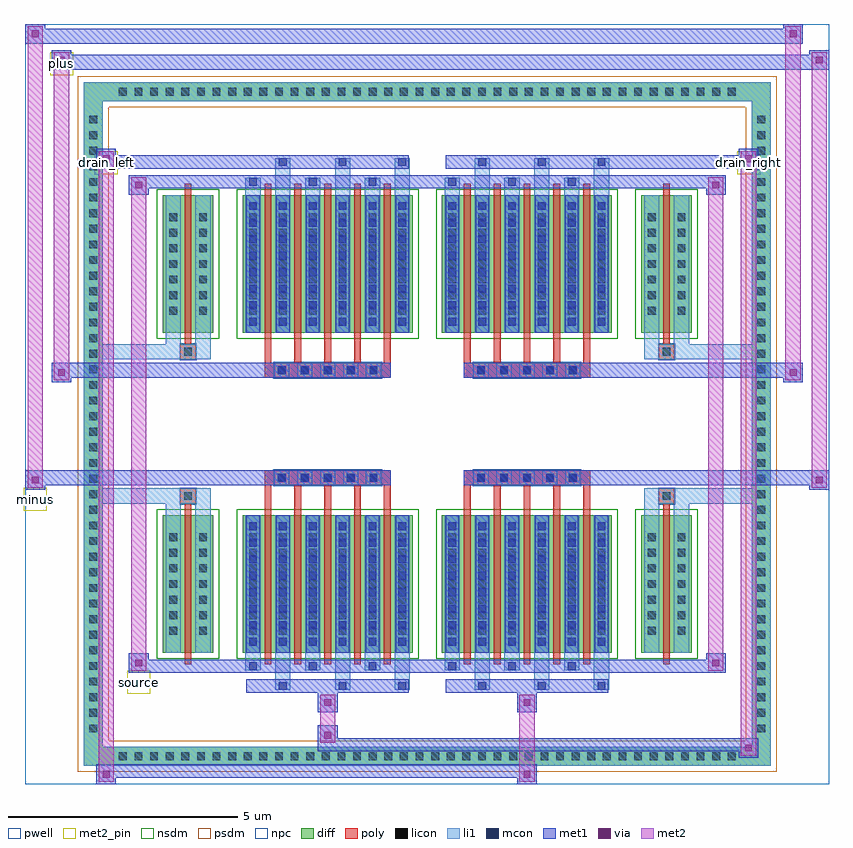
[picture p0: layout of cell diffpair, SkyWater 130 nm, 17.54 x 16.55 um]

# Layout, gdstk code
import gdstk
lib = gdstk.Library(unit=1e-6, precision=5e-09)
def R(c, l, rs):  # rectangles x0, y0, x1, y1
    for r in rs: c.add(gdstk.rectangle(r[:2], r[2:], *l))
def A(c, l, x, y, w, h, nx, ny, dx, dy):  # array of equal rectangles
    R(c, l, [(x+i*dx, y+j*dy, x+i*dx+w, y+j*dy+h) for i in range(nx) for j in range(ny)])
def P(c, l, *ps):  # polygons
    for p in ps: c.add(gdstk.Polygon(p, *l))
pwell = (64, 44)
diff = (65, 20)
poly = (66, 20)
licon = (66, 44)
li1 = (67, 20)
mcon = (67, 44)
met1 = (68, 20)
via = (68, 44)
met2_pin = (69, 16)
met2 = (69, 20)
nsdm = (93, 44)
psdm = (94, 20)
npc = (95, 20)

diffpair = lib.new_cell('diffpair')
R(diffpair, pwell, [(-8.75,-7.84,8.75,8.71), (-6.07,-6.03,-0.01,-0.805), (0.01,-6.03,6.07,-0.805), (-6.07,0.805,-0.01,6.03), (0.01,0.805,6.07,6.03)])
A(diffpair, diff, -6.835, -7.44, 0.41, 0.41, 40, 2, 0.34, 14.47)
A(diffpair, diff, -7.48, -6.835, 0.41, 0.41, 1, 40, 0, 0.34)
A(diffpair, diff, 7.07, -6.835, 0.41, 0.41, 1, 40, 0, 0.34)
R(diffpair, diff, [(-6.835,-7.44,6.835,-7.03), (-7.48,-6.835,-7.07,6.835), (7.07,-6.835,7.48,6.835), (-5.76,-4.985,-4.66,-1.985), (-4.02,-4.985,-0.32,-1.985), (0.32,-4.985,4.02,-1.985), (4.66,-4.985,5.76,-1.985), (-5.76,1.985,-4.66,4.985), (-4.02,1.985,-0.32,4.985), (0.32,1.985,4.02,4.985), (4.66,1.985,5.76,4.985), (-6.835,7.03,6.835,7.44)])
P(diffpair, diff, [(7.48,7.44),(-7.48,7.44),(-7.48,-7.03),(-7.07,-7.03),(-7.07,7.03),(7.07,7.03),(7.07,-7.03),(-7.07,-7.03),(-7.48,-7.03),(-7.48,-7.44),(7.48,-7.44)])
A(diffpair, poly, -3.545, -5.235, 0.15, 3.5, 5, 2, 0.65, 6.97)
A(diffpair, poly, 0.795, -5.235, 0.15, 3.5, 5, 2, 0.65, 6.97)
A(diffpair, poly, -3.545, -1.735, 0.15, 0.4, 5, 2, 0.65, 3.07)
A(diffpair, poly, 0.795, -1.735, 0.15, 0.4, 5, 2, 0.65, 3.07)
A(diffpair, poly, -3.335, -1.335, 0.33, 0.33, 5, 2, 0.5, 2.34)
A(diffpair, poly, 1.005, -1.335, 0.33, 0.33, 5, 2, 0.5, 2.34)
R(diffpair, poly, [(-5.285,-5.235,-5.135,-1.735), (5.135,-5.235,5.285,-1.735), (-5.375,-1.735,-5.045,-1.405), (-5.375,-1.735,-5.045,-1.405), (5.045,-1.735,5.375,-1.405), (5.045,-1.735,5.375,-1.405), (-3.545,-1.335,-0.795,-1.005), (0.795,-1.335,3.545,-1.005), (-3.545,1.005,-0.795,1.335), (0.795,1.005,3.545,1.335), (-5.375,1.405,-5.045,1.735), (-5.375,1.405,-5.045,1.735), (5.045,1.405,5.375,1.735), (5.045,1.405,5.375,1.735), (-5.285,1.735,-5.135,5.235), (5.135,1.735,5.285,5.235)])
A(diffpair, licon, -6.715, -7.32, 0.17, 0.17, 40, 2, 0.34, 14.47)
A(diffpair, licon, -7.36, -6.715, 0.17, 0.17, 1, 40, 0, 0.34)
A(diffpair, licon, 7.19, -6.715, 0.17, 0.17, 1, 40, 0, 0.34)
A(diffpair, licon, -5.62, -4.59, 0.17, 0.17, 1, 7, 0, 0.34)
A(diffpair, licon, -4.97, -4.59, 0.17, 0.17, 1, 7, 0, 0.34)
A(diffpair, licon, -3.88, -4.59, 0.17, 0.17, 6, 7, 0.65, 0.34)
A(diffpair, licon, 0.46, -4.59, 0.17, 0.17, 6, 7, 0.65, 0.34)
A(diffpair, licon, 4.8, -4.59, 0.17, 0.17, 1, 7, 0, 0.34)
A(diffpair, licon, 5.45, -4.59, 0.17, 0.17, 1, 7, 0, 0.34)
A(diffpair, licon, -3.255, -1.255, 0.17, 0.17, 5, 2, 0.5, 2.34)
A(diffpair, licon, 1.085, -1.255, 0.17, 0.17, 5, 2, 0.5, 2.34)
A(diffpair, licon, -5.62, 2.38, 0.17, 0.17, 1, 7, 0, 0.34)
A(diffpair, licon, -4.97, 2.38, 0.17, 0.17, 1, 7, 0, 0.34)
A(diffpair, licon, -3.88, 2.38, 0.17, 0.17, 6, 7, 0.65, 0.34)
A(diffpair, licon, 0.46, 2.38, 0.17, 0.17, 6, 7, 0.65, 0.34)
A(diffpair, licon, 4.8, 2.38, 0.17, 0.17, 1, 7, 0, 0.34)
A(diffpair, licon, 5.45, 2.38, 0.17, 0.17, 1, 7, 0, 0.34)
R(diffpair, licon, [(-5.295,-1.655,-5.125,-1.485), (5.125,-1.655,5.295,-1.485), (-5.295,1.485,-5.125,1.655), (5.125,1.485,5.295,1.655)])
A(diffpair, li1, -6.795, -7.4, 0.33, 0.33, 40, 2, 0.34, 14.47)
A(diffpair, li1, -7.44, -6.795, 0.33, 0.33, 1, 40, 0, 0.34)
A(diffpair, li1, 7.11, -6.795, 0.33, 0.33, 1, 40, 0, 0.34)
A(diffpair, li1, -3.31, -5.79, 0.33, 0.805, 3, 2, 1.3, 10.775)
A(diffpair, li1, -3.23, -5.79, 0.17, 0.17, 3, 2, 1.3, 11.41)
A(diffpair, li1, 1.03, -5.79, 0.33, 0.805, 3, 2, 1.3, 10.775)
A(diffpair, li1, 1.11, -5.79, 0.17, 0.17, 3, 2, 1.3, 11.41)
A(diffpair, li1, -3.96, -5.36, 0.33, 0.375, 3, 2, 1.3, 10.345)
A(diffpair, li1, -3.88, -5.36, 0.17, 0.17, 3, 2, 1.3, 10.55)
A(diffpair, li1, 0.38, -5.36, 0.33, 0.375, 3, 2, 1.3, 10.345)
A(diffpair, li1, 0.46, -5.36, 0.17, 0.17, 3, 2, 1.3, 10.55)
A(diffpair, li1, -3.96, -4.985, 0.33, 3, 6, 2, 0.65, 6.97)
A(diffpair, li1, 0.38, -4.985, 0.33, 3, 6, 2, 0.65, 6.97)
A(diffpair, li1, -3.88, -4.83, 0.17, 0.17, 6, 8, 0.65, 0.36)
A(diffpair, li1, -3.88, -4.83, 0.17, 2.69, 6, 2, 0.65, 6.97)
A(diffpair, li1, 0.46, -4.83, 0.17, 0.17, 6, 8, 0.65, 0.36)
A(diffpair, li1, 0.46, -4.83, 0.17, 2.69, 6, 2, 0.65, 6.97)
A(diffpair, li1, -5.7, -4.67, 0.33, 0.33, 1, 7, 0, 0.34)
A(diffpair, li1, -5.05, -4.67, 0.33, 0.33, 1, 7, 0, 0.34)
A(diffpair, li1, -3.96, -4.67, 0.33, 0.33, 6, 7, 0.65, 0.34)
A(diffpair, li1, 0.38, -4.67, 0.33, 0.33, 6, 7, 0.65, 0.34)
A(diffpair, li1, 4.72, -4.67, 0.33, 0.33, 1, 7, 0, 0.34)
A(diffpair, li1, 5.37, -4.67, 0.33, 0.33, 1, 7, 0, 0.34)
A(diffpair, li1, -3.335, -1.335, 0.33, 0.33, 5, 2, 0.5, 2.34)
A(diffpair, li1, 1.005, -1.335, 0.33, 0.33, 5, 2, 0.5, 2.34)
A(diffpair, li1, -3.88, 2.14, 0.17, 0.17, 6, 8, 0.65, 0.36)
A(diffpair, li1, 0.46, 2.14, 0.17, 0.17, 6, 8, 0.65, 0.36)
A(diffpair, li1, -5.7, 2.3, 0.33, 0.33, 1, 7, 0, 0.34)
A(diffpair, li1, -5.05, 2.3, 0.33, 0.33, 1, 7, 0, 0.34)
A(diffpair, li1, -3.96, 2.3, 0.33, 0.33, 6, 7, 0.65, 0.34)
A(diffpair, li1, 0.38, 2.3, 0.33, 0.33, 6, 7, 0.65, 0.34)
A(diffpair, li1, 4.72, 2.3, 0.33, 0.33, 1, 7, 0, 0.34)
A(diffpair, li1, 5.37, 2.3, 0.33, 0.33, 1, 7, 0, 0.34)
R(diffpair, li1, [(-7.48,-7.44,-7.07,-7.03), (-7.48,-7.44,-7.07,-7.03), (-7.07,-7.44,7.07,-7.03), (7.07,-7.44,7.48,-7.03), (7.07,-7.44,7.48,-7.03), (-7.48,-7.03,-7.07,7.03), (7.07,-7.03,7.48,7.03), (-5.7,-4.985,-5.37,-1.985), (-5.05,-4.985,-4.72,-1.985), (4.72,-4.985,5.05,-1.985), (5.37,-4.985,5.7,-1.985), (-5.7,-1.985,-5.37,-1.405), (-5.05,-1.985,-4.72,-1.405), (4.72,-1.985,5.05,-1.405), (5.37,-1.985,5.7,-1.405), (-7.48,-1.735,-5.375,-1.405), (-5.7,-1.735,-5.375,-1.405), (-5.375,-1.735,-5.045,-1.405), (-5.045,-1.735,-4.72,-1.405), (4.72,-1.735,5.045,-1.405), (5.045,-1.735,5.375,-1.405), (5.045,-1.735,7.48,-1.405), (5.375,-1.735,5.7,-1.405), (-7.48,1.405,-5.375,1.735), (-5.7,1.405,-5.375,1.735), (-5.7,1.405,-5.37,1.985), (-5.375,1.405,-5.045,1.735), (-5.05,1.405,-4.72,1.985), (-5.045,1.405,-4.72,1.735), (4.72,1.405,5.045,1.735), (4.72,1.405,5.05,1.985), (5.045,1.405,5.375,1.735), (5.045,1.405,7.48,1.735), (5.37,1.405,5.7,1.985), (5.375,1.405,5.7,1.735), (-5.7,1.985,-5.37,4.985), (-5.05,1.985,-4.72,4.985), (4.72,1.985,5.05,4.985), (5.37,1.985,5.7,4.985), (-7.48,7.03,-7.07,7.44), (-7.48,7.03,-7.07,7.44), (-7.07,7.03,7.07,7.44), (7.07,7.03,7.48,7.44), (7.07,7.03,7.48,7.44)])
A(diffpair, mcon, -3.23, -5.79, 0.17, 0.17, 3, 2, 1.3, 11.41)
A(diffpair, mcon, 1.11, -5.79, 0.17, 0.17, 3, 2, 1.3, 11.41)
A(diffpair, mcon, -3.88, -5.36, 0.17, 0.17, 3, 2, 1.3, 10.55)
A(diffpair, mcon, 0.46, -5.36, 0.17, 0.17, 3, 2, 1.3, 10.55)
A(diffpair, mcon, -3.88, -4.83, 0.17, 0.17, 6, 8, 0.65, 0.36)
A(diffpair, mcon, 0.46, -4.83, 0.17, 0.17, 6, 8, 0.65, 0.36)
A(diffpair, mcon, -3.255, -1.255, 0.17, 0.17, 5, 2, 0.5, 2.34)
A(diffpair, mcon, 1.085, -1.255, 0.17, 0.17, 5, 2, 0.5, 2.34)
A(diffpair, mcon, -3.88, 2.14, 0.17, 0.17, 6, 8, 0.65, 0.36)
A(diffpair, mcon, 0.46, 2.14, 0.17, 0.17, 6, 8, 0.65, 0.36)
A(diffpair, met1, -3.29, -5.85, 0.29, 0.29, 3, 2, 1.3, 11.41)
A(diffpair, met1, 1.05, -5.85, 0.29, 0.29, 3, 2, 1.3, 11.41)
A(diffpair, met1, -3.94, -5.42, 0.29, 0.29, 3, 2, 1.3, 10.55)
A(diffpair, met1, 0.4, -5.42, 0.29, 0.29, 3, 2, 1.3, 10.55)
A(diffpair, met1, -3.94, -4.985, 0.29, 3, 6, 2, 0.65, 6.97)
A(diffpair, met1, 0.4, -4.985, 0.29, 3, 6, 2, 0.65, 6.97)
A(diffpair, met1, -3.94, -4.89, 0.29, 0.29, 6, 8, 0.65, 0.36)
A(diffpair, met1, 0.4, -4.89, 0.29, 0.29, 6, 8, 0.65, 0.36)
A(diffpair, met1, -3.315, -1.315, 0.29, 0.29, 5, 2, 0.5, 2.34)
A(diffpair, met1, 1.025, -1.315, 0.29, 0.29, 5, 2, 0.5, 2.34)
A(diffpair, met1, -3.94, 2.08, 0.29, 0.29, 6, 8, 0.65, 0.36)
A(diffpair, met1, 0.4, 2.08, 0.29, 0.29, 6, 8, 0.65, 0.36)
R(diffpair, met1, [(-7.21,-7.84,-6.78,-7.41), (1.955,-7.84,2.385,-7.41), (-7.21,-7.7,2.385,-7.41), (6.78,-7.27,7.21,-6.84), (-2.385,-7.13,7.21,-6.84), (-2.385,-6.99,-1.955,-6.56), (-2.385,-6.28,-1.955,-5.85), (1.955,-6.28,2.385,-5.85), (-3.94,-5.85,-0.4,-5.56), (0.4,-5.85,3.94,-5.56), (-6.5,-5.42,-6.07,-4.99), (-6.5,-5.42,-3.94,-5.13), (-3.94,-5.42,-0.4,-5.13), (-0.4,-5.42,0.4,-5.13), (0.4,-5.42,3.94,-5.13), (3.94,-5.42,6.5,-5.13), (6.07,-5.42,6.5,-4.99), (-8.75,-1.435,-8.32,-1.005), (8.32,-1.435,8.75,-1.005), (-8.75,-1.335,-0.795,-1.005), (-3.545,-1.335,-0.795,-1.005), (0.795,-1.335,3.545,-1.005), (0.795,-1.335,8.75,-1.005), (-8.18,0.905,-7.75,1.335), (7.75,0.905,8.18,1.335), (-8.18,1.005,-3.545,1.335), (-3.545,1.005,-0.795,1.335), (0.795,1.005,3.545,1.335), (3.545,1.005,8.18,1.335), (-6.5,4.99,-6.07,5.42), (6.07,4.99,6.5,5.42), (-6.5,5.13,-3.94,5.42), (-3.94,5.13,-0.4,5.42), (-0.4,5.13,0.4,5.42), (0.4,5.13,3.94,5.42), (3.94,5.13,6.5,5.42), (-7.21,5.56,-6.78,5.99), (-7.21,5.56,-3.94,5.85), (-3.94,5.56,-0.4,5.85), (0.4,5.56,3.94,5.85), (3.94,5.56,7.21,5.85), (6.78,5.56,7.21,5.99), (-8.18,7.71,-7.75,8.14), (-8.18,7.71,-6.07,8.04), (-6.07,7.71,6.07,8.04), (6.07,7.71,8.75,8.04), (8.32,7.71,8.75,8.14), (-8.75,8.28,-8.32,8.71), (-8.75,8.28,-6.07,8.61), (-6.07,8.28,6.07,8.61), (6.07,8.28,8.18,8.61), (7.75,8.28,8.18,8.71)])
R(diffpair, via, [(-7.07,-7.7,-6.92,-7.55), (2.095,-7.7,2.245,-7.55), (6.92,-7.13,7.07,-6.98), (-2.245,-6.85,-2.095,-6.7), (-2.245,-6.14,-2.095,-5.99), (2.095,-6.14,2.245,-5.99), (-6.36,-5.28,-6.21,-5.13), (6.21,-5.28,6.36,-5.13), (-8.61,-1.295,-8.46,-1.145), (8.46,-1.295,8.61,-1.145), (-8.04,1.045,-7.89,1.195), (7.89,1.045,8.04,1.195), (-6.36,5.13,-6.21,5.28), (6.21,5.13,6.36,5.28), (-7.07,5.7,-6.92,5.85), (6.92,5.7,7.07,5.85), (-8.04,7.85,-7.89,8), (8.46,7.85,8.61,8), (-8.61,8.42,-8.46,8.57), (7.89,8.42,8.04,8.57)])
R(diffpair, met2_pin, [(-6.535,-5.87,-6.035,-5.37), (-8.785,-1.885,-8.285,-1.385), (-7.245,5.44,-6.745,5.94), (6.745,5.44,7.245,5.94), (-8.215,7.59,-7.715,8.09)])
R(diffpair, met2, [(-7.16,-7.79,-6.83,-7.46), (-7.16,-7.79,-6.83,5.94), (2.005,-7.79,2.335,-7.46), (2.005,-7.46,2.335,-6.23), (6.83,-7.22,7.16,-6.89), (6.83,-7.22,7.16,5.94), (-2.335,-6.94,-2.005,-6.61), (-2.335,-6.61,-2.005,-6.23), (-2.335,-6.23,-2.005,-5.9), (2.005,-6.23,2.335,-5.9), (-6.45,-5.37,-6.12,-5.04), (-6.45,-5.37,-6.12,5.37), (6.12,-5.37,6.45,-5.04), (6.12,-5.37,6.45,5.37), (-8.7,-1.385,-8.37,-1.055), (-8.7,-1.385,-8.37,8.66), (8.37,-1.385,8.7,-1.055), (8.37,-1.385,8.7,8.09), (-8.13,0.955,-7.8,1.285), (-8.13,0.955,-7.8,8.09), (7.8,0.955,8.13,1.285), (7.8,0.955,8.13,8.66), (-6.45,5.04,-6.12,5.37), (6.12,5.04,6.45,5.37), (-7.16,5.61,-6.83,5.94), (6.83,5.61,7.16,5.94), (-8.13,7.76,-7.8,8.09), (8.37,7.76,8.7,8.09), (-8.7,8.33,-8.37,8.66), (7.8,8.33,8.13,8.66)])
P(diffpair, met2, [(8.7,-1.385),(8.7,-1.385),(8.7,-1.055),(8.7,-1.055)],
  [(8.7,7.76),(8.7,7.76),(8.7,8.09),(8.7,8.09)],
  [(-8.37,-1.385),(-8.37,-1.385),(-8.37,-1.055),(-8.37,-1.055)],
  [(-8.37,8.33),(-8.37,8.33),(-8.37,8.66),(-8.37,8.66)],
  [(8.13,0.955),(8.13,0.955),(8.13,1.285),(8.13,1.285)],
  [(8.13,8.33),(8.13,8.33),(8.13,8.66),(8.13,8.66)],
  [(-7.8,0.955),(-7.8,0.955),(-7.8,1.285),(-7.8,1.285)],
  [(-7.8,7.76),(-7.8,7.76),(-7.8,8.09),(-7.8,8.09)],
  [(-6.83,-7.79),(-6.83,-7.79),(-6.83,-7.46),(-6.83,-7.46)],
  [(-6.83,5.61),(-6.83,5.61),(-6.83,5.94),(-6.83,5.94)],
  [(7.16,-7.22),(7.16,-7.22),(7.16,-6.89),(7.16,-6.89)],
  [(7.16,5.61),(7.16,5.61),(7.16,5.94),(7.16,5.94)],
  [(-6.12,-5.37),(-6.12,-5.37),(-6.12,-5.04),(-6.12,-5.04)],
  [(-6.12,5.04),(-6.12,5.04),(-6.12,5.37),(-6.12,5.37)],
  [(6.45,-5.37),(6.45,-5.37),(6.45,-5.04),(6.45,-5.04)],
  [(6.45,5.04),(6.45,5.04),(6.45,5.37),(6.45,5.37)])
R(diffpair, nsdm, [(-5.89,-5.115,-4.53,-1.855), (-4.15,-5.115,-0.19,-1.855), (0.19,-5.115,4.15,-1.855), (4.53,-5.115,5.89,-1.855), (-5.89,1.855,-4.53,5.115), (-4.15,1.855,-0.19,5.115), (0.19,1.855,4.15,5.115), (4.53,1.855,5.89,5.115)])
P(diffpair, psdm, [(7.61,7.57),(-7.61,7.57),(-7.61,-6.9),(-6.94,-6.9),(-6.94,6.9),(6.94,6.9),(6.94,-6.9),(-6.94,-6.9),(-7.61,-6.9),(-7.61,-7.57),(7.61,-7.57)])
A(diffpair, npc, -3.355, -1.355, 0.37, 0.37, 5, 2, 0.5, 2.34)
A(diffpair, npc, 0.985, -1.355, 0.37, 0.37, 5, 2, 0.5, 2.34)
R(diffpair, npc, [(-5.395,-1.755,-5.025,-1.385), (5.025,-1.755,5.395,-1.385), (-3.355,-1.355,-2.485,-0.985), (-3.355,-1.355,-2.485,-0.985), (-2.855,-1.355,-1.985,-0.985), (-2.855,-1.355,-1.985,-0.985), (-2.355,-1.355,-1.485,-0.985), (-2.355,-1.355,-1.485,-0.985), (-1.855,-1.355,-0.985,-0.985), (-1.855,-1.355,-0.985,-0.985), (0.985,-1.355,1.855,-0.985), (0.985,-1.355,1.855,-0.985), (1.485,-1.355,2.355,-0.985), (1.485,-1.355,2.355,-0.985), (1.985,-1.355,2.855,-0.985), (1.985,-1.355,2.855,-0.985), (2.485,-1.355,3.355,-0.985), (2.485,-1.355,3.355,-0.985), (-3.355,0.985,-2.485,1.355), (-3.355,0.985,-2.485,1.355), (-2.855,0.985,-1.985,1.355), (-2.855,0.985,-1.985,1.355), (-2.355,0.985,-1.485,1.355), (-2.355,0.985,-1.485,1.355), (-1.855,0.985,-0.985,1.355), (-1.855,0.985,-0.985,1.355), (0.985,0.985,1.855,1.355), (0.985,0.985,1.855,1.355), (1.485,0.985,2.355,1.355), (1.485,0.985,2.355,1.355), (1.985,0.985,2.855,1.355), (1.985,0.985,2.855,1.355), (2.485,0.985,3.355,1.355), (2.485,0.985,3.355,1.355), (-5.395,1.385,-5.025,1.755), (5.025,1.385,5.395,1.755)])
diffpair.add(gdstk.Label('minus', (-8.535,-1.635), layer=69, texttype=5))
diffpair.add(gdstk.Label('drain_right', (6.995,5.69), layer=69, texttype=5))
diffpair.add(gdstk.Label('drain_left', (-6.995,5.69), layer=69, texttype=5))
diffpair.add(gdstk.Label('source', (-6.285,-5.62), layer=69, texttype=5))
diffpair.add(gdstk.Label('plus', (-7.965,7.84), layer=69, texttype=5))

lib.write_gds('diffpair.gds')
